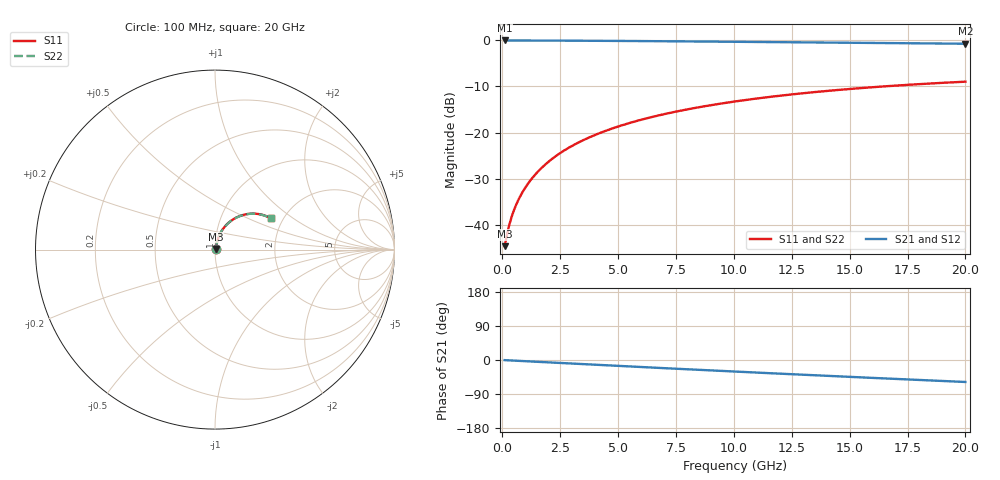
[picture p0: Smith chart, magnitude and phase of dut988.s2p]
! Touchstone file exported from HFSS 2026.1.0
!  File:  C:/ffzhzh/LocalFiles/Ansys_Project_Files/temp_train_BSMRDL_988_1783172878_18472.aedt
!  Generated:  09:49:22 PM Jul  4, 2026
!  Design:  BSMRDL
!  Project:  temp_train_BSMRDL_988_1783172878_18472
! Variables:
!  h_bsmrdl = 3.28um
!  h_ox = 20um
!  h_rdl = 5um
!  h_sub = 80um
!  h_tmrdl = 5um
!  h_tsv = 80um
!  h_via = 3um
!  l_bsmrdl = 968.63um
!  l_sub = 1368.63um
!  l_tmrdl = 200um
!  m_sub = 200um
!  pitch = 35.58um
!  r_tsv = 6um
!  s_tmrdl = 10um
!  w_bsmrdl = 21.09um
!  w_sub = 500um
!  w_tmrdl = 12um
!  x_tsv_center1 = 206um
!  x_tsv_center2 = 1195.72um
!  x_tsv_center3 = 1407.72um
!  x_tsv_center4 = 2397.44um
!  x_tsv_center5 = 2609.44um
!  x_tsv_center6 = 3599.16um
# GHz S MA R 50.000000
! Terminal data exported
! Port[1] = BSM_RDL1_1_T1
! Port[2] = BSM_RDL1_1_T2
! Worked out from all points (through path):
!   200 points, 100 MHz to 20 GHz, reference 50 ohm
!   highest |S21| = -0.04 dB at 100 MHz (marker M1); lowest = -0.8 dB at 20 GHz (marker M2)
!   group delay of S21, straight-line fit = 8.05 ps
!   lowest |S11| = -44.6 dB at 100 MHz (marker M3), VSWR 1.01, Z = 50.5 + j0.286 ohm
!   |S11| at or under -10 dB: start of sweep to 16.48 GHz
!   |S22| runs from -44.6 to -9.0 dB; largest |S21 - S12| = 5.9e-15
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0.1  0.005882 28.8  0.9949 -0.3  0.9949 -0.3  0.005882 28.8
! Gamma 0 0 0 0
! Port Impedance 50 0 50 0
0.2  0.007781 45.1  0.9946 -0.7  0.9946 -0.7  0.007781 45.1
0.3  0.009956 53.7  0.9942 -1.0  0.9942 -1.0  0.009956 53.7
0.4  0.01216 58.9  0.9939 -1.3  0.9939 -1.3  0.01216 58.9
0.5  0.01436 62.5  0.9936 -1.6  0.9936 -1.6  0.01436 62.5
0.6  0.01655 65.1  0.9934 -1.9  0.9934 -1.9  0.01655 65.1
0.8  0.02098 68.8  0.9931 -2.6  0.9931 -2.6  0.02098 68.8
1  0.02547 71.2  0.9928 -3.2  0.9928 -3.2  0.02547 71.2
1.2  0.03001 72.7  0.9926 -3.8  0.9926 -3.8  0.03001 72.7
1.4  0.03458 73.7  0.9923 -4.4  0.9923 -4.4  0.03459 73.7
1.7  0.04149 74.5  0.9919 -5.3  0.9919 -5.3  0.04149 74.5
2.2  0.05304 74.9  0.991 -6.9  0.991 -6.9  0.05304 74.9
2.8  0.06686 74.4  0.9898 -8.8  0.9898 -8.8  0.06687 74.4
3.5  0.08284 73.2  0.9881 -10.9  0.9881 -10.9  0.08285 73.2
4.2  0.09859 71.7  0.9861 -13.1  0.9861 -13.1  0.0986 71.7
5  0.1163 69.7  0.9836 -15.5  0.9836 -15.5  0.1163 69.7
6.8  0.1544 64.9  0.9767 -21.0  0.9767 -21.0  0.1545 64.9
8.3  0.1844 60.8  0.9703 -25.4  0.9703 -25.4  0.1845 60.7
10.1  0.2181 55.8  0.962 -30.7  0.962 -30.7  0.2182 55.7
13.4  0.2731 46.8  0.9462 -40.1  0.9462 -40.1  0.2732 46.7
16.7  0.319 38.0  0.9308 -49.2  0.9308 -49.2  0.3191 37.9
20  0.3558 29.5  0.9169 -58.0  0.9169 -58.0  0.3559 29.4
